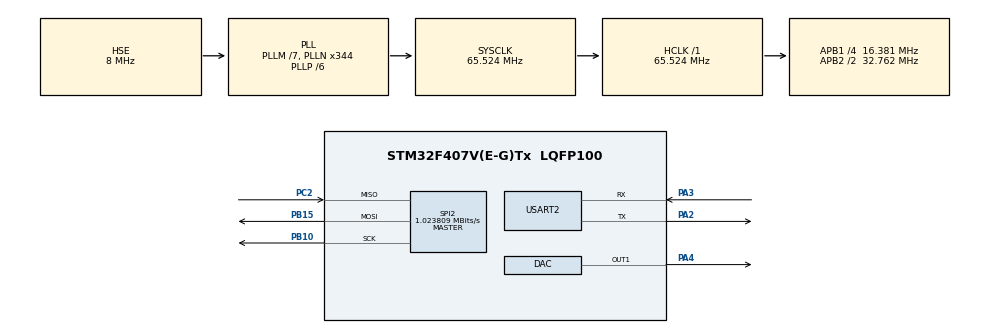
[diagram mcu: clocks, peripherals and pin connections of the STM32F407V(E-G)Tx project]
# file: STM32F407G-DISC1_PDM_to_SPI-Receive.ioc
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DAC.DAC_Trigger=DAC_TRIGGER_T2_TRGO
Dma.DAC1.2.Direction=DMA_MEMORY_TO_PERIPH
Dma.DAC1.2.FIFOMode=DMA_FIFOMODE_DISABLE
Dma.DAC1.2.Instance=DMA1_Stream5
Dma.DAC1.2.MemDataAlignment=DMA_MDATAALIGN_HALFWORD
Dma.DAC1.2.MemInc=DMA_MINC_ENABLE
Dma.DAC1.2.Mode=DMA_CIRCULAR
Dma.DAC1.2.PeriphDataAlignment=DMA_PDATAALIGN_HALFWORD
Dma.DAC1.2.PeriphInc=DMA_PINC_DISABLE
Dma.DAC1.2.Priority=DMA_PRIORITY_LOW
Dma.Request0=SPI2_RX
Dma.Request1=SPI2_TX
Dma.Request2=DAC1
Dma.SPI2_RX.0.Direction=DMA_PERIPH_TO_MEMORY
Dma.SPI2_RX.0.FIFOMode=DMA_FIFOMODE_DISABLE
Dma.SPI2_RX.0.Instance=DMA1_Stream3
Dma.SPI2_RX.0.MemDataAlignment=DMA_MDATAALIGN_BYTE
Dma.SPI2_RX.0.MemInc=DMA_MINC_ENABLE
Dma.SPI2_RX.0.Mode=DMA_NORMAL
Dma.SPI2_RX.0.PeriphDataAlignment=DMA_PDATAALIGN_BYTE
Dma.SPI2_RX.0.PeriphInc=DMA_PINC_DISABLE
Dma.SPI2_RX.0.Priority=DMA_PRIORITY_MEDIUM
Dma.SPI2_TX.1.Direction=DMA_MEMORY_TO_PERIPH
Dma.SPI2_TX.1.FIFOMode=DMA_FIFOMODE_DISABLE
Dma.SPI2_TX.1.Instance=DMA1_Stream4
Dma.SPI2_TX.1.MemDataAlignment=DMA_MDATAALIGN_BYTE
Dma.SPI2_TX.1.MemInc=DMA_MINC_ENABLE
Dma.SPI2_TX.1.Mode=DMA_NORMAL
Dma.SPI2_TX.1.PeriphDataAlignment=DMA_PDATAALIGN_BYTE
Dma.SPI2_TX.1.PeriphInc=DMA_PINC_DISABLE
Dma.SPI2_TX.1.Priority=DMA_PRIORITY_LOW
Mcu.Family=STM32F4
Mcu.Name=STM32F407V(E-G)Tx
Mcu.Package=LQFP100
NVIC.DMA1_Stream3_IRQn=true\:0\:0\:false\:false\:true\:false\:true
NVIC.DMA1_Stream4_IRQn=true\:0\:0\:false\:false\:true\:false\:true
NVIC.DMA1_Stream5_IRQn=true\:0\:0\:false\:false\:true\:false\:true
NVIC.PriorityGroup=NVIC_PRIORITYGROUP_0
PA13.Mode=Serial_Wire
PA13.Signal=SYS_JTMS-SWDIO
PA14.Mode=Serial_Wire
PA14.Signal=SYS_JTCK-SWCLK
PA2.Mode=Asynchronous
PA2.Signal=USART2_TX
PA3.Mode=Asynchronous
PA3.Signal=USART2_RX
PA4.Signal=COMP_DAC1_group
PB10.GPIO_Speed=GPIO_SPEED_FREQ_LOW
PB10.Mode=Full_Duplex_Master
PB10.Signal=SPI2_SCK
PB15.GPIO_Speed=GPIO_SPEED_FREQ_LOW
PB15.Mode=Full_Duplex_Master
PB15.Signal=SPI2_MOSI
PC2.GPIO_Speed=GPIO_SPEED_FREQ_LOW
PC2.Mode=Full_Duplex_Master
PC2.Signal=SPI2_MISO
PH0-OSC_IN.Mode=HSE-External-Oscillator
PH0-OSC_IN.Signal=RCC_OSC_IN
PH1-OSC_OUT.Mode=HSE-External-Oscillator
PH1-OSC_OUT.Signal=RCC_OSC_OUT
ProjectManager.HeapSize=0x200
ProjectManager.StackSize=0x400
ProjectManager.TargetToolchain=STM32CubeIDE
RCC.48MHZClocksFreq_Value=56163265.30612246
RCC.AHBFreq_Value=65523809.52380953
RCC.APB1CLKDivider=RCC_HCLK_DIV4
RCC.APB1Freq_Value=16380952.380952382
RCC.APB1TimFreq_Value=32761904.761904765
RCC.APB2CLKDivider=RCC_HCLK_DIV2
RCC.APB2Freq_Value=32761904.761904765
RCC.APB2TimFreq_Value=65523809.52380953
RCC.CortexFreq_Value=65523809.52380953
RCC.HCLKFreq_Value=65523809.52380953
RCC.HSE_VALUE=8000000
RCC.HSI_VALUE=16000000
RCC.LSE_VALUE=32768
RCC.PLLM=7
RCC.PLLN=344
RCC.PLLP=RCC_PLLP_DIV6
RCC.PLLQ=7
RCC.PLLSourceVirtual=RCC_PLLSOURCE_HSE
RCC.SYSCLKFreq_VALUE=65523809.52380953
RCC.SYSCLKSource=RCC_SYSCLKSOURCE_PLLCLK
RCC.VCOOutputFreq_Value=393142857.1428572
SH.COMP_DAC1_group.0=DAC_OUT1,DAC_OUT1
SPI2.BaudRatePrescaler=SPI_BAUDRATEPRESCALER_16
SPI2.CalculateBaudRate=1.023809 MBits/s
SPI2.Direction=SPI_DIRECTION_2LINES
SPI2.Mode=SPI_MODE_MASTER
SPI2.VirtualType=VM_MASTER
USART2.VirtualMode=VM_ASYNC
board=STM32F407G-DISC1

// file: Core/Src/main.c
/* USER CODE BEGIN Header */
/**
 ******************************************************************************
 * @file           : main.c
 * @brief          : Main program body
 ******************************************************************************
 * @attention
 *
 * <h2><center>&copy; Copyright (c) 2021 STMicroelectronics.
 * All rights reserved.</center></h2>
 *
 * This software component is licensed by ST under Ultimate Liberty license
 * SLA0044, the "License"; You may not use this file except in compliance with
 * the License. You may obtain a copy of the License at:
 *                             www.st.com/SLA0044
 *
 ******************************************************************************
 */
/* USER CODE END Header */
#include "main.h"

/* USER CODE BEGIN Includes */

#include <stdio.h>
#include "pdm_tones.h"

/* USER CODE END Includes */

DAC_HandleTypeDef hdac;
DMA_HandleTypeDef hdma_dac1;

SPI_HandleTypeDef hspi2;
DMA_HandleTypeDef hdma_spi2_rx;
DMA_HandleTypeDef hdma_spi2_tx;

UART_HandleTypeDef huart2;

/* USER CODE BEGIN PV */

uint8_t send_data[] = "SPI buffer test";
uint8_t size_data;
uint8_t receive_data[10];

/* USER CODE END PV */

void SystemClock_Config(void);
static void MX_GPIO_Init(void);
static void MX_USART2_UART_Init(void);
static void MX_DMA_Init(void);
static void MX_SPI2_Init(void);
static void MX_DAC_Init(void);
/* USER CODE BEGIN PFP */

#define PUTCHAR_PROTOTYPE int __io_putchar(int ch)

/* USER CODE END PFP */

int main(void)
{

  /* MCU Configuration--------------------------------------------------------*/

  /* Reset of all peripherals, Initializes the Flash interface and the Systick. */
  HAL_Init();

  /* Configure the system clock */
  SystemClock_Config();

  /* Initialize all configured peripherals */
  MX_GPIO_Init();
  MX_USART2_UART_Init();
  MX_DMA_Init();
  MX_SPI2_Init();
  MX_DAC_Init();
  /* USER CODE BEGIN 2 */

	printf("Starting >> STM32F407G-DISC1_PDM_to_SPI-Receive \n");

	//	size_data = sizeof(send_data);
	//
	//	printf("Size of send_data = %d\n", size_data);
	//
	//	printf("send_data = %s\n", send_data);

	//	// first bit to MSB - 8bit tone "AA"
	//	for(uint16_t i = 0; i < sizeof(tone500HzA4_pdmdata) * 4; i++)
	//	{
	//		pdmBuffer8_8000bits_1000bytes_1[i >> 3] = 0x55;
	//	}
	//
	//	// first bit to MSB - 8bit tone500Hz_pdmdata
	//	for(uint16_t i = 0; i < sizeof(tone500Hz_pdmdata) * 4; i++)
	//	{
	//		pdmBuffer8_8000bits_1000bytes_2[i >> 3] = (pdmBuffer8_8000bits_1000bytes_2[i >> 3] << 1) + tone500Hz_pdmdata[i % sizeof(tone500Hz_pdmdata)];
	//	}
	//
	//	// first bit to MSB - 8bit tone500HzA4_pdmdata
	//	for(uint16_t i = 0; i < sizeof(tone500HzA4_pdmdata) * 4; i++)
	//	{
	//		pdmBuffer8_8000bits_1000bytes_3[i >> 3] = (pdmBuffer8_8000bits_1000bytes_3[i >> 3] << 1) + tone500HzA4_pdmdata[i % sizeof(tone500HzA4_pdmdata)];
	//	}

	HAL_SPI_Receive_DMA(&hspi2, receive_data, 5);

	//	HAL_SPI_TransmitReceive_DMA(&hspi2, send_data, receive_data, 5);

	//	HAL_SPI_Transmit_DMA(&hspi2, receive_data, 5);

	HAL_Delay(100);

	//	HAL_SPI_Receive(&hspi1, receive_data, 5, 1000);

	//	printf("receive_data = %s\n", receive_data);

	printf("Ending >> STM32F407G-DISC1_PDM_to_SPI-Receive \n");

  /* USER CODE END 2 */

  /* Infinite loop */
	while (1)
	{

	}
}

void SystemClock_Config(void)
{
  RCC_OscInitTypeDef RCC_OscInitStruct = {0};
  RCC_ClkInitTypeDef RCC_ClkInitStruct = {0};

  /** Configure the main internal regulator output voltage
  */
  __HAL_RCC_PWR_CLK_ENABLE();
  __HAL_PWR_VOLTAGESCALING_CONFIG(PWR_REGULATOR_VOLTAGE_SCALE1);
  /** Initializes the RCC Oscillators according to the specified parameters
  * in the RCC_OscInitTypeDef structure.
  */
  RCC_OscInitStruct.OscillatorType = RCC_OSCILLATORTYPE_HSE;
  RCC_OscInitStruct.HSEState = RCC_HSE_ON;
  RCC_OscInitStruct.PLL.PLLState = RCC_PLL_ON;
  RCC_OscInitStruct.PLL.PLLSource = RCC_PLLSOURCE_HSE;
  RCC_OscInitStruct.PLL.PLLM = 7;
  RCC_OscInitStruct.PLL.PLLN = 344;
  RCC_OscInitStruct.PLL.PLLP = RCC_PLLP_DIV6;
  RCC_OscInitStruct.PLL.PLLQ = 7;
  if (HAL_RCC_OscConfig(&RCC_OscInitStruct) != HAL_OK)
  {
    Error_Handler();
  }
  /** Initializes the CPU, AHB and APB buses clocks
  */
  RCC_ClkInitStruct.ClockType = RCC_CLOCKTYPE_HCLK|RCC_CLOCKTYPE_SYSCLK
                              |RCC_CLOCKTYPE_PCLK1|RCC_CLOCKTYPE_PCLK2;
  RCC_ClkInitStruct.SYSCLKSource = RCC_SYSCLKSOURCE_PLLCLK;
  RCC_ClkInitStruct.AHBCLKDivider = RCC_SYSCLK_DIV1;
  RCC_ClkInitStruct.APB1CLKDivider = RCC_HCLK_DIV4;
  RCC_ClkInitStruct.APB2CLKDivider = RCC_HCLK_DIV2;

  if (HAL_RCC_ClockConfig(&RCC_ClkInitStruct, FLASH_LATENCY_2) != HAL_OK)
  {
    Error_Handler();
  }
}

static void MX_DAC_Init(void)
{

  DAC_ChannelConfTypeDef sConfig = {0};

  /** DAC Initialization
  */
  hdac.Instance = DAC;
  if (HAL_DAC_Init(&hdac) != HAL_OK)
  {
    Error_Handler();
  }
  /** DAC channel OUT1 config
  */
  sConfig.DAC_Trigger = DAC_TRIGGER_T2_TRGO;
  sConfig.DAC_OutputBuffer = DAC_OUTPUTBUFFER_ENABLE;
  if (HAL_DAC_ConfigChannel(&hdac, &sConfig, DAC_CHANNEL_1) != HAL_OK)
  {
    Error_Handler();
  }

}

static void MX_SPI2_Init(void)
{

  /* SPI2 parameter configuration*/
  hspi2.Instance = SPI2;
  hspi2.Init.Mode = SPI_MODE_MASTER;
  hspi2.Init.Direction = SPI_DIRECTION_2LINES;
  hspi2.Init.DataSize = SPI_DATASIZE_8BIT;
  hspi2.Init.CLKPolarity = SPI_POLARITY_LOW;
  hspi2.Init.CLKPhase = SPI_PHASE_1EDGE;
  hspi2.Init.NSS = SPI_NSS_SOFT;
  hspi2.Init.BaudRatePrescaler = SPI_BAUDRATEPRESCALER_16;
  hspi2.Init.FirstBit = SPI_FIRSTBIT_MSB;
  hspi2.Init.TIMode = SPI_TIMODE_DISABLE;
  hspi2.Init.CRCCalculation = SPI_CRCCALCULATION_DISABLE;
  hspi2.Init.CRCPolynomial = 10;
  if (HAL_SPI_Init(&hspi2) != HAL_OK)
  {
    Error_Handler();
  }

}

static void MX_USART2_UART_Init(void)
{

  huart2.Instance = USART2;
  huart2.Init.BaudRate = 115200;
  huart2.Init.WordLength = UART_WORDLENGTH_8B;
  huart2.Init.StopBits = UART_STOPBITS_1;
  huart2.Init.Parity = UART_PARITY_NONE;
  huart2.Init.Mode = UART_MODE_TX_RX;
  huart2.Init.HwFlowCtl = UART_HWCONTROL_NONE;
  huart2.Init.OverSampling = UART_OVERSAMPLING_16;
  if (HAL_UART_Init(&huart2) != HAL_OK)
  {
    Error_Handler();
  }

}

static void MX_DMA_Init(void)
{

  /* DMA controller clock enable */
  __HAL_RCC_DMA1_CLK_ENABLE();

  /* DMA interrupt init */
  /* DMA1_Stream3_IRQn interrupt configuration */
  HAL_NVIC_SetPriority(DMA1_Stream3_IRQn, 0, 0);
  HAL_NVIC_EnableIRQ(DMA1_Stream3_IRQn);
  /* DMA1_Stream4_IRQn interrupt configuration */
  HAL_NVIC_SetPriority(DMA1_Stream4_IRQn, 0, 0);
  HAL_NVIC_EnableIRQ(DMA1_Stream4_IRQn);
  /* DMA1_Stream5_IRQn interrupt configuration */
  HAL_NVIC_SetPriority(DMA1_Stream5_IRQn, 0, 0);
  HAL_NVIC_EnableIRQ(DMA1_Stream5_IRQn);

}

static void MX_GPIO_Init(void)
{

  /* GPIO Ports Clock Enable */
  __HAL_RCC_GPIOH_CLK_ENABLE();
  __HAL_RCC_GPIOC_CLK_ENABLE();
  __HAL_RCC_GPIOA_CLK_ENABLE();
  __HAL_RCC_GPIOB_CLK_ENABLE();

}

/* USER CODE BEGIN 4 */

PUTCHAR_PROTOTYPE
{
	/* Place your implementation of fputc here */
	/* e.g. write a character to the LPUART1 and Loop until the end of transmission */
	HAL_UART_Transmit(&huart2, (uint8_t *)&ch, 1, 0xFFFF);

	return ch;
}

void HAL_SPI_RxCpltCallback(SPI_HandleTypeDef *hspi)
{
	UNUSED(hspi);

	printf("HAL_SPI_RxCpltCallback \n");
}

void HAL_SPI_RxHalfCpltCallback(SPI_HandleTypeDef *hspi)
{
	UNUSED(hspi);

	printf("HAL_SPI_RxHalfCpltCallback \n");
}

void HAL_SPI_TxRxCpltCallback(SPI_HandleTypeDef *hspi)
{
	UNUSED(hspi);

	printf("HAL_SPI_TxRxCpltCallback \n");
}

void HAL_SPI_ErrorCallback(SPI_HandleTypeDef *hspi)
{
	UNUSED(hspi);

	printf("HAL_SPI_ErrorCallback : Error code %d \n", hspi->ErrorCode);

}

/* USER CODE END 4 */

void Error_Handler(void)
{
	__disable_irq();
	while (1)
	{
	}
}

/************************ (C) COPYRIGHT STMicroelectronics *****END OF FILE****/
